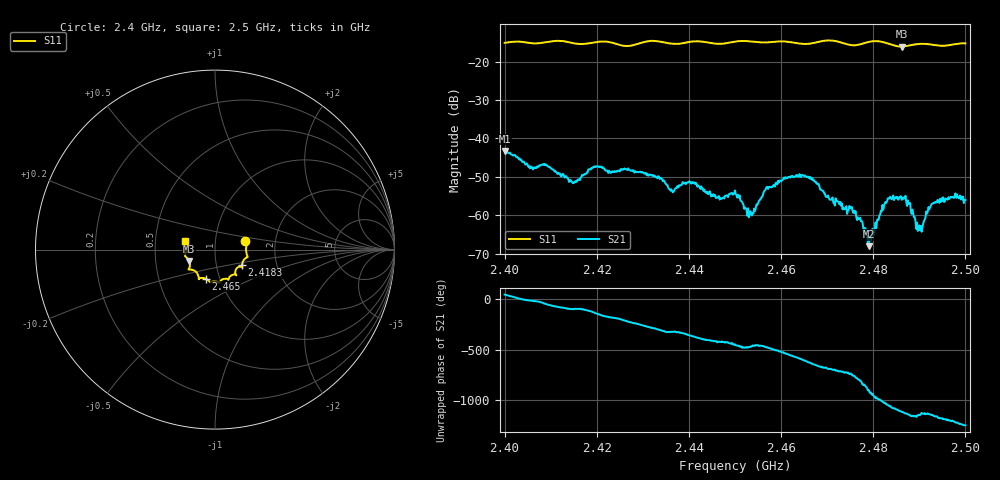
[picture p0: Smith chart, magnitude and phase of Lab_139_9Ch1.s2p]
# Hz S RI R 50
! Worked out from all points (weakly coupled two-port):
!   601 points, 2.4 GHz to 2.5 GHz, reference 50 ohm
!   highest |S21| = -43.25 dB at 2.4 GHz (marker M1); lowest = -68.0 dB at 2.479 GHz (marker M2)
!   lowest |S11| = -16.1 dB at 2.4862 GHz (marker M3), VSWR 1.37, Z = 37.2 - j4.82 ohm
!   |S11| at or under -10 dB: start of sweep to end of sweep
!   S12 and S22 are empty: the file has one direction only
!   S11 on the Smith chart (normalised r, x): 2.4 GHz: 1.40, +0.14; 2.4183 GHz: 1.33, -0.24; 2.465 GHz: 0.86, -0.28; 2.5 GHz: 0.71, +0.07
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2.4e9  0.169 0.0471  0.00465 0.00506  0 0  0 0
2.4145e9  0.1691 -0.0487  -0.000268 -0.00273  0 0  0 0
2.416667e9  0.1548 -0.0683  -0.000406 -0.00311  0 0  0 0
2.418333e9  0.1501 -0.087  -0.00166 -0.00362  0 0  0 0
2.433333e9  0.1176 -0.1408  0.00151 0.00285  0 0  0 0
2.436333e9  0.097 -0.141  0.00162 0.00131  0 0  0 0
2.440333e9  0.0755 -0.1647  0.00272 6.45e-05  0 0  0 0
2.446333e9  0.0506 -0.163  0.000828 -0.0015  0 0  0 0
2.45e9  0.0262 -0.1804  0.000127 -0.0021  0 0  0 0
2.4535e9  0.0168 -0.182  -0.000336 -0.001  0 0  0 0
2.457e9  -0.00925 -0.1778  -0.000987 -0.00213  0 0  0 0
2.465e9  -0.0526 -0.1615  -0.00139 0.00293  0 0  0 0
2.466667e9  -0.0714 -0.1576  0.000226 0.00306  0 0  0 0
2.470167e9  -0.0909 -0.165  0.00153 0.000988  0 0  0 0
2.475667e9  -0.1066 -0.1233  0.000905 -0.000589  0 0  0 0
2.479e9  -0.1422 -0.1112  -0.000397 -2.43e-05  0 0  0 0
2.483333e9  -0.1412 -0.0964  0.00143 0.000852  0 0  0 0
2.486167e9  -0.1437 -0.0632  0.00134 -0.000871  0 0  0 0
2.4875e9  -0.1526 -0.0502  0.000852 -0.00132  0 0  0 0
2.490167e9  -0.166 -0.037  0.000281 -0.000576  0 0  0 0
2.493167e9  -0.1636 -0.0188  0.00036 -0.00139  0 0  0 0
2.5e9  -0.1665 0.0468  -0.00155 -0.000357  0 0  0 0
